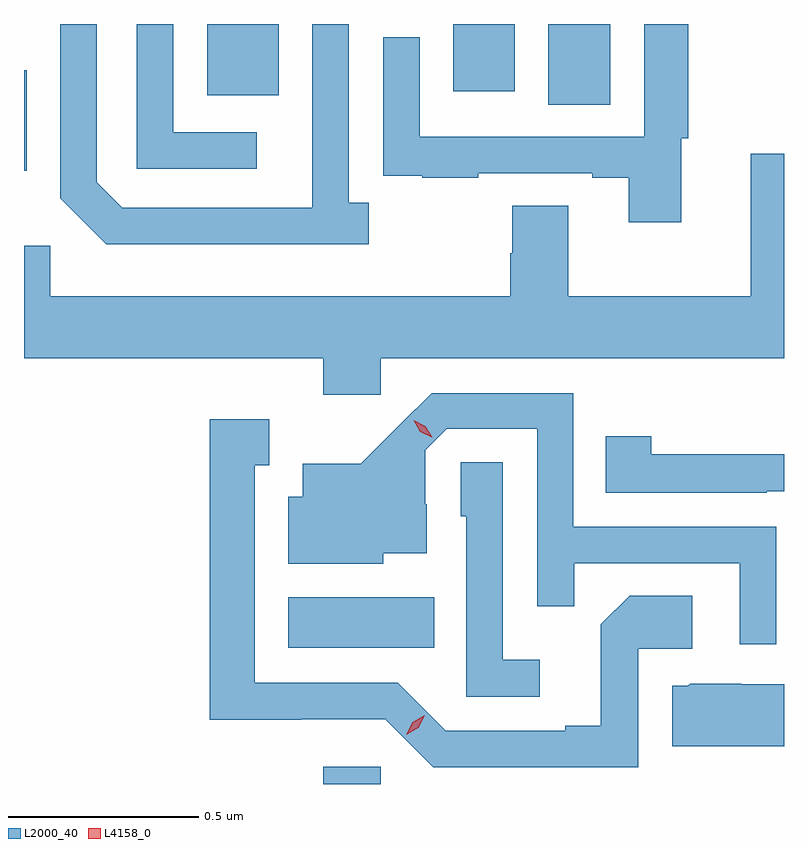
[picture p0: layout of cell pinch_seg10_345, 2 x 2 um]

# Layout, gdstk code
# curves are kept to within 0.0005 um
import gdstk
lib = gdstk.Library(unit=1e-6, precision=1e-09)
def R(c, l, rs):  # rectangles x0, y0, x1, y1
    for r in rs: c.add(gdstk.rectangle(r[:2], r[2:], *l))
def P(c, l, *ps):  # polygons
    for p in ps: c.add(gdstk.Polygon(p, *l))
L2000_40 = (2000, 40)
L4158_0 = (4158, 0)

pinch_seg10_345 = lib.new_cell('pinch_seg10_345')
R(pinch_seg10_345, L2000_40, [(499.547,1285.876,499.698,1285.921), (499.454,1286.234,499.838,1286.368), (498.759,1287.49,498.766,1287.754), (500.138,1287.664,500.302,1287.876), (499.241,1287.689,499.429,1287.876), (499.889,1287.699,500.05,1287.876)])
P(pinch_seg10_345, L2000_40, [(499.372,1287.591),(499.152,1287.591),(499.152,1287.876),(499.056,1287.876),(499.056,1287.495),(499.372,1287.495)],
  [(499.666,1287.406),(499.614,1287.406),(499.614,1287.876),(499.518,1287.876),(499.518,1287.593),(499.517,1287.593),(499.517,1287.393),(499.017,1287.393),(498.951,1287.459),(498.951,1287.876),(498.855,1287.876),(498.855,1287.417),(498.976,1287.296),(499.666,1287.296)],
  [(500.489,1287.576),(500.507,1287.576),(500.507,1287.876),(500.391,1287.876),(500.391,1287.579),(499.8,1287.579),(499.8,1287.841),(499.704,1287.841),(499.704,1287.586),(499.705,1287.586),(499.705,1287.477),(499.807,1287.477),(499.807,1287.471),(499.955,1287.471),(499.955,1287.483),(500.255,1287.483),(500.255,1287.471),(500.351,1287.471),(500.351,1287.354),(500.489,1287.354)],
  [(499.698,1286.996),(500.759,1286.996),(500.759,1287.535),(500.672,1287.535),(500.672,1287.16),(500.191,1287.16),(500.191,1287.398),(500.044,1287.398),(500.044,1287.273),(500.039,1287.273),(500.039,1287.16),(498.828,1287.16),(498.828,1287.292),(498.759,1287.292),(498.759,1286.996),(499.547,1286.996),(499.547,1286.901),(499.698,1286.901)],
  [(500.739,1286.553),(500.205,1286.553),(500.205,1286.904),(499.832,1286.904),(499.645,1286.719),(499.493,1286.719),(499.493,1286.632),(499.454,1286.632),(499.454,1286.456),(499.704,1286.456),(499.704,1286.483),(499.819,1286.483),(499.819,1286.612),(499.815,1286.612),(499.815,1286.754),(499.872,1286.811),(500.109,1286.811),(500.109,1286.344),(500.207,1286.344),(500.207,1286.457),(500.643,1286.457),(500.643,1286.244),(500.739,1286.244)],
  [(500.376,1286.232),(500.518,1286.232),(500.518,1286.372),(500.353,1286.372),(500.277,1286.296),(500.277,1286.029),(500.183,1286.029),(500.183,1286.016),(499.869,1286.016),(499.743,1286.142),(499.366,1286.142),(499.366,1286.715),(499.405,1286.715),(499.405,1286.836),(499.248,1286.836),(499.248,1286.045),(499.488,1286.045),(499.488,1286.046),(499.71,1286.046),(499.836,1285.92),(500.376,1285.92)],
  [(500.714,1286.646),(500.759,1286.646),(500.759,1286.744),(500.409,1286.744),(500.409,1286.791),(500.29,1286.791),(500.29,1286.643),(500.714,1286.643)],
  [(500.116,1286.203),(500.019,1286.203),(500.019,1286.723),(499.908,1286.723),(499.908,1286.58),(499.923,1286.58),(499.923,1286.106),(500.116,1286.106)],
  [(500.759,1286.139),(500.646,1286.139),(500.646,1286.14),(500.512,1286.14),(500.506,1286.134),(500.465,1286.134),(500.465,1285.976),(500.759,1285.976)])
P(pinch_seg10_345, L4158_0, [(499.832,1286.788),(499.802,1286.803),(499.784,1286.833),(499.784,1286.833),(499.784,1286.833),(499.815,1286.818),(499.833,1286.788),(499.833,1286.788)],
  [(499.765,1286.005),(499.765,1286.006),(499.782,1286.038),(499.814,1286.057),(499.814,1286.057),(499.814,1286.057),(499.797,1286.024),(499.765,1286.005)])

lib.write_gds('pinch_seg10_345.gds')
